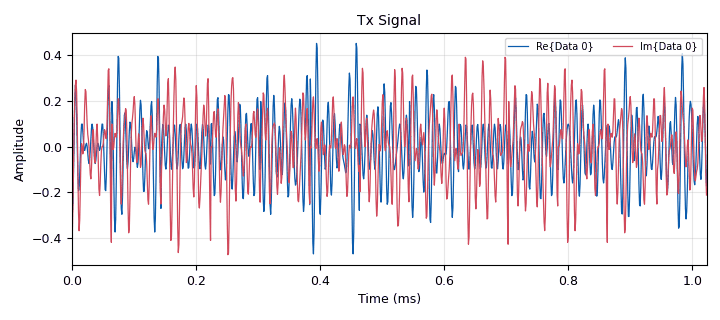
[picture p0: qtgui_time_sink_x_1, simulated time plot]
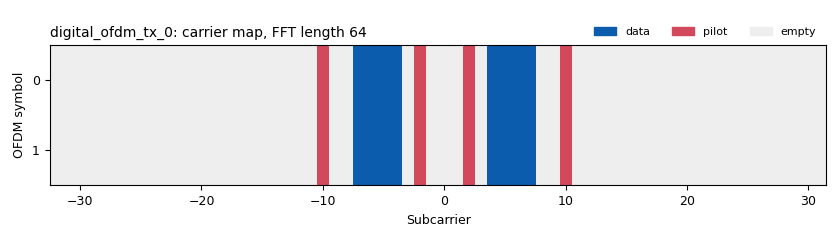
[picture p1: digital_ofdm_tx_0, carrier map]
options:
  parameters:
    author: ucanlab
    category: Custom
    description: Baseline use of the GNURadio packaged OFDM Transmitter / Receiver
    generate_options: qt_gui
    id: ofdm_01
    output_language: python
    title: OFDM Loopback - simulation and OTA
  states: {}

blocks:
- name: Rx_Gain
  id: variable_qtgui_range
  parameters:
    gui_hint: 1,1,1,1
    label: 'HW ONLY: Rx gain'
    orient: Qt.Horizontal
    rangeType: int
    start: '10'
    step: '5'
    stop: '70'
    value: '40'
  states: {}
- name: Tx_Gain
  id: variable_qtgui_range
  parameters:
    gui_hint: 0,1,1,1
    label: 'HW ONLY: Tx gain'
    orient: Qt.Horizontal
    rangeType: int
    start: '10'
    step: '5'
    stop: '70'
    value: '40'
  states: {}
- name: fft_len
  id: variable
  parameters:
    value: '64'
  states: {}
- name: freq_offset
  id: variable_qtgui_range
  parameters:
    gui_hint: 1,0,1,1
    label: 'SIM ONLY: Frequency Offset (Multiples of Sub-carrier spacing)'
    orient: Qt.Horizontal
    start: '-3'
    step: '.01'
    stop: '3'
    value: '0'
  states: {}
- name: len_tag_key
  id: variable
  parameters:
    value: '"packet_len"'
  states: {}
- name: noise_voltage
  id: variable_qtgui_range
  parameters:
    gui_hint: 0,0,1,1
    label: 'SIM ONLY: Noise Amplitude'
    orient: Qt.Horizontal
    start: '0'
    step: '.01'
    stop: '1'
    value: '0.02'
  states: {}
- name: occupied_carriers
  id: variable
  parameters:
    value: ((-7,-6,-5,-4,4,5,6,7),)
  states: {}
- name: packet_len
  id: variable
  parameters:
    value: '25'
  states: {}
- name: pilot_carriers
  id: variable
  parameters:
    value: ((-10,-2,2,10),)
  states: {}
- name: pilot_syms
  id: variable
  parameters:
    value: ((-1,1,-1,1),)
  states: {}
- name: samp_rate
  id: variable
  parameters:
    value: '1000000'
  states: {}
- name: blocks_multiply_const_vxx_0
  id: blocks_multiply_const_vxx
  parameters:
    const: '0.035'
    type: complex
  states: {}
- name: blocks_stream_to_tagged_stream_0
  id: blocks_stream_to_tagged_stream
  parameters:
    len_tag_key: len_tag_key
    packet_len: packet_len
    type: byte
  states: {}
- name: blocks_tag_debug_0
  id: blocks_tag_debug
  parameters:
    display: 'False'
    name: Rx Packets
    type: byte
  states: {}
- name: blocks_throttle_0
  id: blocks_throttle
  parameters:
    samples_per_second: samp_rate
    type: complex
  states: {state: disabled}
- name: blocks_uchar_to_float_0
  id: blocks_uchar_to_float
  parameters: {}
  states: {}
- name: blocks_vector_source_x_0
  id: blocks_vector_source_x
  parameters:
    repeat: 'True'
    tags: ()
    type: byte
    vector: range(2*packet_len)
  states: {}
- name: channels_channel_model_0
  id: channels_channel_model
  parameters:
    block_tags: 'True'
    epsilon: '1.0'
    freq_offset: freq_offset * 1.0/fft_len
    noise_voltage: noise_voltage
    seed: '0'
    taps: 1.0 + 1.0j
  states: {state: disabled}
- name: digital_ofdm_rx_0
  id: digital_ofdm_rx
  parameters:
    cp_len: fft_len//4
    fft_len: fft_len
    header_mod: '"BPSK"'
    occupied_carriers: occupied_carriers
    packet_len_key: '"rx_len"'
    payload_mod: '"QPSK"'
    pilot_carriers: pilot_carriers
    pilot_symbols: ((-1,1,-1,1),)
    sync_word1: None
    sync_word2: None
  states: {}
- name: digital_ofdm_tx_0
  id: digital_ofdm_tx
  parameters:
    cp_len: fft_len//4
    fft_len: fft_len
    header_mod: '"BPSK"'
    occupied_carriers: occupied_carriers
    packet_len_key: len_tag_key
    payload_mod: '"QPSK"'
    pilot_carriers: pilot_carriers
    pilot_symbols: pilot_syms
    rolloff: '0'
    sync_word1: None
    sync_word2: None
  states: {}
- name: fc
  id: parameter
  parameters:
    label: Carrier Frequency
    short_id: f
    type: intx
    value: '915000000'
  states: {}
- name: note_0
  id: note
  parameters:
    note: Sim Params
  states: {}
- name: note_0_0
  id: note
  parameters:
    note: Hardware Params
  states: {}
- name: note_0_0_0
  id: note
  parameters:
    note: Simulation
  states: {}
- name: note_0_0_0_0
  id: note
  parameters:
    note: Hardware
  states: {}
- name: note_0_1
  id: note
  parameters:
    note: OFDM Params
  states: {}
- name: qtgui_sink_x_0
  id: qtgui_sink_x
  parameters:
    bw: samp_rate
    fc: fc
    fftsize: '1024'
    gui_hint: 3,0,1,1
    name: '"Rx Signal"'
    plotconst: 'False'
    showrf: 'True'
    type: complex
    wintype: firdes.WIN_BLACKMAN_hARRIS
  states: {}
- name: qtgui_time_sink_x_0
  id: qtgui_time_sink_x
  parameters:
    autoscale: 'True'
    gui_hint: 3,1,1,1
    label1: ''
    name: Rx data
    size: packet_len*10 - 1
    srate: samp_rate
    type: float
  states: {}
- name: qtgui_time_sink_x_1
  id: qtgui_time_sink_x
  parameters:
    autoscale: 'True'
    gui_hint: 2,0,1,2
    name: '"Tx Signal"'
    size: '1024'
    srate: samp_rate
    type: complex
  states: {}
- name: rx_addr
  id: parameter
  parameters:
    label: RX Address
    short_id: r
    type: str
    value: '3279500'
  states: {}
- name: tx_addr
  id: parameter
  parameters:
    label: TX Address
    short_id: t
    type: str
    value: '3279417'
  states: {}
- name: uhd_usrp_sink_0
  id: uhd_usrp_sink
  parameters:
    ant0: TX/RX
    center_freq0: fc
    dev_addr: '"serial=" + tx_addr'
    dev_args: '""'
    gain0: Tx_Gain
    len_tag_name: ''
    norm_gain0: 'False'
    samp_rate: samp_rate
    sync: none
    type: fc32
  states: {}
- name: uhd_usrp_source_0
  id: uhd_usrp_source
  parameters:
    ant0: RX2
    center_freq0: fc
    dc_offs_enb0: '""'
    dev_addr: '"serial=" + rx_addr'
    dev_args: '""'
    gain0: Rx_Gain
    iq_imbal_enb0: '""'
    norm_gain0: 'False'
    samp_rate: samp_rate
    sync: none
    type: fc32
  states: {}
- name: virtual_sink_0
  id: virtual_sink
  parameters:
    stream_id: RxSignal
  states: {state: disabled}
- name: virtual_sink_0_0
  id: virtual_sink
  parameters:
    stream_id: TxSignal
  states: {}
- name: virtual_sink_0_1
  id: virtual_sink
  parameters:
    stream_id: RxSignal
  states: {}
- name: virtual_source_0
  id: virtual_source
  parameters:
    stream_id: RxSignal
  states: {}
- name: virtual_source_0_0
  id: virtual_source
  parameters:
    stream_id: TxSignal
  states: {}
- name: virtual_source_0_0_0
  id: virtual_source
  parameters:
    stream_id: TxSignal
  states: {state: disabled}

connections:
- [blocks_multiply_const_vxx_0, '0', qtgui_time_sink_x_1, '0']
- [blocks_multiply_const_vxx_0, '0', virtual_sink_0_0, '0']
- [blocks_stream_to_tagged_stream_0, '0', digital_ofdm_tx_0, '0']
- [blocks_throttle_0, '0', virtual_sink_0, '0']
- [blocks_uchar_to_float_0, '0', qtgui_time_sink_x_0, '0']
- [blocks_vector_source_x_0, '0', blocks_stream_to_tagged_stream_0, '0']
- [channels_channel_model_0, '0', blocks_throttle_0, '0']
- [digital_ofdm_rx_0, '0', blocks_tag_debug_0, '0']
- [digital_ofdm_rx_0, '0', blocks_uchar_to_float_0, '0']
- [digital_ofdm_tx_0, '0', blocks_multiply_const_vxx_0, '0']
- [uhd_usrp_source_0, '0', virtual_sink_0_1, '0']
- [virtual_source_0, '0', digital_ofdm_rx_0, '0']
- [virtual_source_0, '0', qtgui_sink_x_0, '0']
- [virtual_source_0_0, '0', uhd_usrp_sink_0, '0']
- [virtual_source_0_0_0, '0', channels_channel_model_0, '0']

metadata:
  file_format: 1
